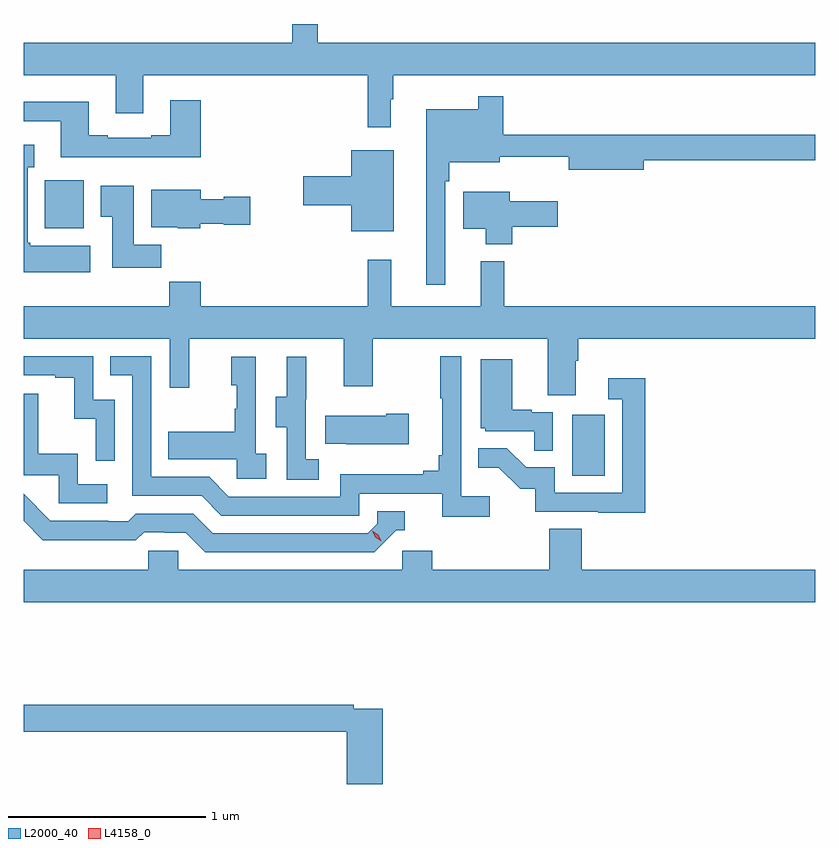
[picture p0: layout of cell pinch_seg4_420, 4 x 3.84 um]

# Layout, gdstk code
import gdstk
lib = gdstk.Library(unit=1e-6, precision=1e-09)
def R(c, l, rs):  # rectangles x0, y0, x1, y1
    for r in rs: c.add(gdstk.rectangle(r[:2], r[2:], *l))
def P(c, l, *ps):  # polygons
    for p in ps: c.add(gdstk.Polygon(p, *l))
L2000_40 = (2000, 40)
L4158_0 = (4158, 0)

pinch_seg4_420 = lib.new_cell('pinch_seg4_420')
R(pinch_seg4_420, L2000_40, [(915.722,789.468,915.886,789.775), (913.058,790.718,913.255,790.96)])
P(pinch_seg4_420, L2000_40, [(914.806,791.369),(914.818,791.369),(914.818,791.492),(916.95,791.492),(916.95,791.656),(914.435,791.656),(914.435,791.75),(914.307,791.75),(914.307,791.656),(912.95,791.656),(912.95,791.492),(913.415,791.492),(913.415,791.298),(913.555,791.298),(913.555,791.492),(914.689,791.492),(914.689,791.229),(914.806,791.229)],
  [(915.081,790.955),(915.101,790.955),(915.101,791.051),(915.355,791.051),(915.355,791.08),(915.704,791.08),(915.704,791.015),(916.084,791.015),(916.084,791.062),(916.95,791.062),(916.95,791.191),(915.374,791.191),(915.374,791.386),(915.246,791.386),(915.246,791.32),(914.984,791.32),(914.984,790.434),(915.081,790.434)],
  [(913.844,791.365),(913.691,791.365),(913.691,791.188),(913.595,791.188),(913.595,791.175),(913.375,791.175),(913.375,791.188),(913.279,791.188),(913.279,791.356),(912.95,791.356),(912.95,791.259),(913.139,791.259),(913.139,791.078),(913.844,791.078)],
  [(913.288,790.63),(912.984,790.63),(912.984,790.644),(912.97,790.644),(912.97,791.027),(913.003,791.027),(913.003,791.14),(912.95,791.14),(912.95,790.496),(913.288,790.496)],
  [(914.821,791.113),(914.606,791.113),(914.606,790.982),(914.364,790.982),(914.364,790.835),(914.606,790.835),(914.606,790.703),(914.821,790.703)],
  [(913.646,790.636),(913.507,790.636),(913.507,790.933),(913.34,790.933),(913.34,790.777),(913.397,790.777),(913.397,790.518),(913.646,790.518)],
  [(913.842,790.742),(913.962,790.742),(913.962,790.735),(914.095,790.735),(914.095,790.877),(913.962,790.877),(913.962,790.864),(913.846,790.864),(913.846,790.912),(913.595,790.912),(913.595,790.724),(913.728,790.724),(913.728,790.718),(913.842,790.718)],
  [(915.419,790.726),(915.649,790.726),(915.649,790.855),(915.406,790.855),(915.406,790.903),(915.17,790.903),(915.17,790.715),(915.284,790.715),(915.284,790.637),(915.419,790.637)],
  [(915.739,790.048),(915.752,790.048),(915.752,790.16),(916.95,790.16),(916.95,790.324),(915.377,790.324),(915.377,790.552),(915.26,790.552),(915.26,790.324),(914.807,790.324),(914.807,790.558),(914.689,790.558),(914.689,790.324),(913.844,790.324),(913.844,790.448),(913.687,790.448),(913.687,790.324),(912.95,790.324),(912.95,790.16),(913.689,790.16),(913.689,789.912),(913.787,789.912),(913.787,790.16),(914.567,790.16),(914.567,789.921),(914.715,789.921),(914.715,790.16),(915.599,790.16),(915.599,789.874),(915.739,789.874)],
  [(915.304,789.364),(915.162,789.364),(915.162,790.072),(915.054,790.072),(915.054,789.859),(915.065,789.859),(915.065,789.571),(915.046,789.571),(915.046,789.494),(914.969,789.494),(914.969,789.475),(914.55,789.475),(914.55,789.363),(913.986,789.363),(913.887,789.462),(913.596,789.462),(913.596,790.071),(913.387,790.071),(913.387,789.975),(913.5,789.975),(913.5,789.366),(913.85,789.366),(913.949,789.267),(914.646,789.267),(914.646,789.378),(915.065,789.378),(915.065,789.262),(915.304,789.262)],
  [(913.41,789.852),(913.302,789.852),(913.302,790.071),(912.95,790.071),(912.95,789.975),(913.109,789.975),(913.109,789.963),(913.205,789.963),(913.205,789.755),(913.314,789.755),(913.314,789.543),(913.41,789.543)],
  [(914.44,789.551),(914.376,789.551),(914.376,789.855),(914.378,789.855),(914.378,790.069),(914.279,790.069),(914.279,789.867),(914.225,789.867),(914.225,789.712),(914.28,789.712),(914.28,789.448),(914.44,789.448)],
  [(914.176,789.578),(914.124,789.578),(914.124,790.069),(914,790.069),(914,789.924),(914.026,789.924),(914.026,789.806),(914.016,789.806),(914.016,789.691),(913.681,789.691),(913.681,789.551),(914.028,789.551),(914.028,789.453),(914.176,789.453)],
  [(915.624,789.789),(915.518,789.789),(915.518,789.802),(915.418,789.802),(915.418,790.057),(915.26,790.057),(915.26,789.708),(915.282,789.708),(915.282,789.693),(915.529,789.693),(915.529,789.595),(915.624,789.595)],
  [(916.091,789.961),(915.903,789.961),(915.903,789.855),(915.975,789.855),(915.975,789.381),(915.633,789.381),(915.633,789.51),(915.489,789.51),(915.391,789.608),(915.247,789.608),(915.247,789.509),(915.351,789.509),(915.458,789.402),(915.535,789.402),(915.535,789.285),(915.853,789.285),(915.853,789.28),(916.091,789.28)],
  [(913.372,789.426),(913.224,789.426),(913.224,789.58),(913.025,789.58),(913.025,789.883),(912.95,789.883),(912.95,789.471),(913.128,789.471),(913.128,789.33),(913.372,789.33)],
  [(914.896,789.78),(914.783,789.78),(914.783,789.772),(914.473,789.772),(914.473,789.629),(914.581,789.629),(914.581,789.626),(914.896,789.626)],
  [(914.832,789.192),(914.875,789.192),(914.875,789.288),(914.736,789.288),(914.736,789.225),(914.688,789.177),(913.905,789.177),(913.806,789.276),(913.517,789.276),(913.478,789.237),(913.379,789.237),(913.379,789.24),(913.086,789.24),(912.95,789.376),(912.95,789.241),(913.048,789.143),(913.284,789.143),(913.284,789.141),(913.517,789.141),(913.559,789.183),(913.662,789.183),(913.662,789.18),(913.769,789.18),(913.868,789.081),(914.721,789.081)],
  [(916.95,788.992),(915.77,788.992),(915.77,789.2),(915.605,789.2),(915.605,788.992),(915.014,788.992),(915.014,789.09),(914.862,789.09),(914.862,788.992),(913.731,788.992),(913.731,789.09),(913.581,789.09),(913.581,788.992),(912.95,788.992),(912.95,788.828),(916.95,788.828)],
  [(914.765,788.292),(914.618,788.292),(914.618,788.312),(912.95,788.312),(912.95,788.176),(914.582,788.176),(914.582,787.911),(914.765,787.911)])
P(pinch_seg4_420, L4158_0, [(914.758,789.138),(914.727,789.158),(914.712,789.191),(914.712,789.191),(914.712,789.191),(914.742,789.171),(914.758,789.138),(914.758,789.138)])

lib.write_gds('pinch_seg4_420.gds')
